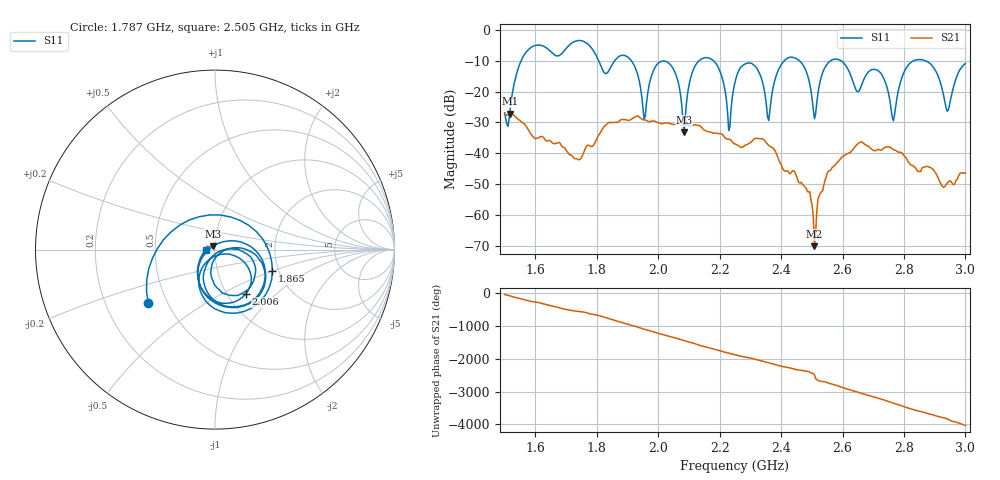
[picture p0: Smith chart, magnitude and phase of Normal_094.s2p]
# HZ S RI R 50
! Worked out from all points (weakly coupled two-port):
!   404 points, 1.5 GHz to 3 GHz, reference 50 ohm
!   highest |S21| = -27.17 dB at 1.519 GHz (marker M1); lowest = -69.9 dB at 2.509 GHz (marker M2)
!   lowest |S11| = -33.1 dB at 2.084 GHz (marker M3), VSWR 1.05, Z = 48.9 + j1.9 ohm
!   |S11| at or under -10 dB: 1.912 GHz to 2.134 GHz (221.6 MHz wide, 11 % of centre); 2.179 GHz to 2.411 GHz (231.7 MHz wide, 10.1 % of centre); 2.594 GHz to 2.833 GHz (238.6 MHz wide, 8.79 % of centre) (the widest 3 of 7)
!   S12 and S22 are empty: the file has one direction only
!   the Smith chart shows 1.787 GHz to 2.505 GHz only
!   S11 on the Smith chart (normalised r, x): 1.787 GHz: 0.39, -0.30; 1.865 GHz: 1.85, -0.50; 2.006 GHz: 1.21, -0.66; 2.505 GHz: 0.90, +0.00
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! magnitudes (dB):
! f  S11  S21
! 1.5 GHz  -26.9  -27.3
! 1.519 GHz  -25.2  -27.2
! 1.578 GHz  -6.4  -32.5
! 1.753 GHz  -3.7  -40.8
! 1.787 GHz  -6.5  -37.6
! 1.865 GHz  -9.3  -30.0
! 1.954 GHz  -29.1  -29.1
! 2.002 GHz  -10.7  -30.2
! 2.006 GHz  -10.4  -30.3
! 2.084 GHz  -33.1  -30.2
! 2.136 GHz  -9.8  -31.1
! 2.23 GHz  -32.6  -35.4
! 2.252 GHz  -16.3  -37.0
! 2.36 GHz  -29.4  -37.4
! 2.442 GHz  -9.1  -45.6
! 2.501 GHz  -22.5  -56.9
! 2.505 GHz  -25.9  -60.5
! 2.509 GHz  -28.8  -69.9
! 2.572 GHz  -9.6  -44.1
! 2.751 GHz  -20.9  -37.9
! 2.944 GHz  -26.1  -49.2
! 3 GHz  -10.9  -46.2
